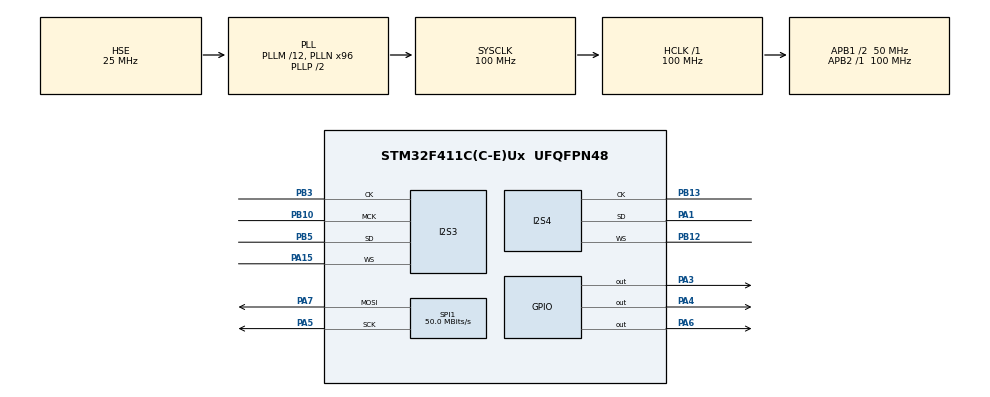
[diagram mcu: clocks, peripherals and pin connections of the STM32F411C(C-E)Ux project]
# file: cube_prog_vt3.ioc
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Dma.Request0=SPI3_RX
Dma.Request1=SPI4_TX
Dma.SPI3_RX.0.Direction=DMA_PERIPH_TO_MEMORY
Dma.SPI3_RX.0.FIFOMode=DMA_FIFOMODE_DISABLE
Dma.SPI3_RX.0.Instance=DMA1_Stream0
Dma.SPI3_RX.0.MemDataAlignment=DMA_MDATAALIGN_HALFWORD
Dma.SPI3_RX.0.MemInc=DMA_MINC_ENABLE
Dma.SPI3_RX.0.Mode=DMA_CIRCULAR
Dma.SPI3_RX.0.PeriphDataAlignment=DMA_PDATAALIGN_HALFWORD
Dma.SPI3_RX.0.PeriphInc=DMA_PINC_DISABLE
Dma.SPI3_RX.0.Priority=DMA_PRIORITY_LOW
Dma.SPI4_TX.1.Direction=DMA_MEMORY_TO_PERIPH
Dma.SPI4_TX.1.FIFOMode=DMA_FIFOMODE_DISABLE
Dma.SPI4_TX.1.Instance=DMA2_Stream1
Dma.SPI4_TX.1.MemDataAlignment=DMA_MDATAALIGN_HALFWORD
Dma.SPI4_TX.1.MemInc=DMA_MINC_ENABLE
Dma.SPI4_TX.1.Mode=DMA_CIRCULAR
Dma.SPI4_TX.1.PeriphDataAlignment=DMA_PDATAALIGN_HALFWORD
Dma.SPI4_TX.1.PeriphInc=DMA_PINC_DISABLE
Dma.SPI4_TX.1.Priority=DMA_PRIORITY_LOW
I2S3.AudioFreq=I2S_AUDIOFREQ_48K
I2S3.CPOL=I2S_CPOL_HIGH
I2S3.DataFormat=I2S_DATAFORMAT_24B
I2S3.ErrorAudioFreq=0.02 %
I2S3.FullDuplexMode=I2S_FULLDUPLEXMODE_DISABLE
I2S3.Instance=SPI$Index
I2S3.Mode=I2S_MODE_MASTER_RX
I2S3.RealAudioFreq=48.014 KHz
I2S3.VirtualMode=I2S_MODE_MASTER
I2S4.AudioFreq=I2S_AUDIOFREQ_48K
I2S4.DataFormat=I2S_DATAFORMAT_24B
I2S4.ErrorAudioFreq=0.02 %
I2S4.FullDuplexMode=I2S_FULLDUPLEXMODE_DISABLE
I2S4.Instance=SPI$Index
I2S4.RealAudioFreq=48.014 KHz
I2S4.VirtualMode=I2S_MODE_MASTER
Mcu.Family=STM32F4
Mcu.Name=STM32F411C(C-E)Ux
Mcu.Package=UFQFPN48
NVIC.DMA1_Stream0_IRQn=true\:0\:0\:false\:false\:true\:false\:true\:true
NVIC.DMA2_Stream1_IRQn=true\:0\:0\:false\:false\:true\:false\:true\:true
NVIC.PriorityGroup=NVIC_PRIORITYGROUP_4
PA1.Mode=Half_Duplex_Master
PA1.Signal=I2S4_SD
PA15.Mode=Half_Duplex_Master
PA15.Signal=I2S3_WS
PA3.GPIO_Speed=GPIO_SPEED_FREQ_VERY_HIGH
PA3.Signal=GPIO_Output
PA4.GPIO_Speed=GPIO_SPEED_FREQ_VERY_HIGH
PA4.Signal=GPIO_Output
PA5.Mode=TX_Only_Simplex_Unidirect_Master
PA5.Signal=SPI1_SCK
PA6.GPIO_Speed=GPIO_SPEED_FREQ_VERY_HIGH
PA6.Signal=GPIO_Output
PA7.Mode=TX_Only_Simplex_Unidirect_Master
PA7.Signal=SPI1_MOSI
PB10.Mode=Master_Clock_Activated
PB10.Signal=I2S3_MCK
PB12.Mode=Half_Duplex_Master
PB12.Signal=I2S4_WS
PB13.Mode=Half_Duplex_Master
PB13.Signal=I2S4_CK
PB3.Mode=Half_Duplex_Master
PB3.Signal=I2S3_CK
PB5.Mode=Half_Duplex_Master
PB5.Signal=I2S3_SD
PH0\ -\ OSC_IN.Mode=HSE-External-Oscillator
PH0\ -\ OSC_IN.Signal=RCC_OSC_IN
PH1\ -\ OSC_OUT.Mode=HSE-External-Oscillator
PH1\ -\ OSC_OUT.Signal=RCC_OSC_OUT
ProjectManager.HeapSize=0x200
ProjectManager.StackSize=0x400
ProjectManager.TargetToolchain=STM32CubeIDE
RCC.48MHZClocksFreq_Value=50000000
RCC.AHBFreq_Value=100000000
RCC.APB1CLKDivider=RCC_HCLK_DIV2
RCC.APB1Freq_Value=50000000
RCC.APB1TimFreq_Value=100000000
RCC.APB2Freq_Value=100000000
RCC.APB2TimFreq_Value=100000000
RCC.CortexFreq_Value=100000000
RCC.HCLKFreq_Value=100000000
RCC.HSE_VALUE=25000000
RCC.HSI_VALUE=16000000
RCC.LSE_VALUE=32768
RCC.PLLI2SN=236
RCC.PLLM=12
RCC.PLLN=96
RCC.PLLSourceVirtual=RCC_PLLSOURCE_HSE
RCC.SYSCLKFreq_VALUE=100000000
RCC.SYSCLKSource=RCC_SYSCLKSOURCE_PLLCLK
RCC.VCOOutputFreq_Value=200000000
SPI1.BaudRatePrescaler=SPI_BAUDRATEPRESCALER_2
SPI1.CLKPolarity=SPI_POLARITY_LOW
SPI1.CalculateBaudRate=50.0 MBits/s
SPI1.DataSize=SPI_DATASIZE_8BIT
SPI1.Direction=SPI_DIRECTION_2LINES
SPI1.Mode=SPI_MODE_MASTER
SPI1.VirtualType=VM_MASTER
board=custom

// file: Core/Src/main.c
/* USER CODE BEGIN Header */
/**
  ******************************************************************************
  * @file           : main.c
  * @brief          : Main program body
  ******************************************************************************
  * @attention
  *
  * Copyright (c) 2023 STMicroelectronics.
  * All rights reserved.
  *
  * This software is licensed under terms that can be found in the LICENSE file
  * in the root directory of this software component.
  * If no LICENSE file comes with this software, it is provided AS-IS.
  *
  ******************************************************************************
  */
/* USER CODE END Header */
#include "main.h"

/* USER CODE BEGIN Includes */
#include "st7735.h"
#define ST7735_IS_128X128
#include "testimg.h"
#undef ST7735_IS_128X128
#include "fonts.h"
#include "gfx_functions.h"
/* USER CODE END Includes */

I2S_HandleTypeDef hi2s3;
I2S_HandleTypeDef hi2s4;
DMA_HandleTypeDef hdma_spi3_rx;
DMA_HandleTypeDef hdma_spi4_tx;

SPI_HandleTypeDef hspi1;

void SystemClock_Config(void);
void PeriphCommonClock_Config(void);
static void MX_GPIO_Init(void);
static void MX_DMA_Init(void);
static void MX_SPI1_Init(void);
static void MX_I2S3_Init(void);
static void MX_I2S4_Init(void);
/* USER CODE BEGIN PFP */
void checkborder(void);
void initscreen(void);
void initpcm(void);
extern void testDrawPixelMeter(void);
/* USER CODE END PFP */

/* USER CODE BEGIN 0 */
uint16_t inp[4*CNT_DISCRET];
uint16_t out[4*CNT_DISCRET];
uint16_t curPos, lPos;
/* USER CODE END 0 */

int main(void)
{

  /* MCU Configuration--------------------------------------------------------*/

  /* Reset of all peripherals, Initializes the Flash interface and the Systick. */
  HAL_Init();

  /* Configure the system clock */
  SystemClock_Config();

/* Configure the peripherals common clocks */
  PeriphCommonClock_Config();

  /* Initialize all configured peripherals */
  MX_GPIO_Init();
  MX_DMA_Init();
  MX_SPI1_Init();
  MX_I2S3_Init();
  MX_I2S4_Init();
  /* USER CODE BEGIN 2 */
  initscreen();
  ST7735_FillScreenFast(ST7735_BLACK);
  HAL_I2S_Receive_DMA(&hi2s3, inp, CNT_DISCRET*2);	// Отправляет в дма (Принять из Устройства)
  HAL_I2S_Transmit_DMA(&hi2s4, out, CNT_DISCRET*2); // Забирает (ОтравитьВДМА)
  testDrawPixelMeter();
  /* USER CODE END 2 */

  /* Infinite loop */
  while (1)
  {

// 	  ST7735_FillScreenFast(ST7735_BLACK);
  }
}

void SystemClock_Config(void)
{
  RCC_OscInitTypeDef RCC_OscInitStruct = {0};
  RCC_ClkInitTypeDef RCC_ClkInitStruct = {0};

  /** Configure the main internal regulator output voltage
  */
  __HAL_RCC_PWR_CLK_ENABLE();
  __HAL_PWR_VOLTAGESCALING_CONFIG(PWR_REGULATOR_VOLTAGE_SCALE1);

  /** Initializes the RCC Oscillators according to the specified parameters
  * in the RCC_OscInitTypeDef structure.
  */
  RCC_OscInitStruct.OscillatorType = RCC_OSCILLATORTYPE_HSE;
  RCC_OscInitStruct.HSEState = RCC_HSE_ON;
  RCC_OscInitStruct.PLL.PLLState = RCC_PLL_ON;
  RCC_OscInitStruct.PLL.PLLSource = RCC_PLLSOURCE_HSE;
  RCC_OscInitStruct.PLL.PLLM = 12;
  RCC_OscInitStruct.PLL.PLLN = 96;
  RCC_OscInitStruct.PLL.PLLP = RCC_PLLP_DIV2;
  RCC_OscInitStruct.PLL.PLLQ = 4;
  if (HAL_RCC_OscConfig(&RCC_OscInitStruct) != HAL_OK)
  {
    Error_Handler();
  }

  /** Initializes the CPU, AHB and APB buses clocks
  */
  RCC_ClkInitStruct.ClockType = RCC_CLOCKTYPE_HCLK|RCC_CLOCKTYPE_SYSCLK
                              |RCC_CLOCKTYPE_PCLK1|RCC_CLOCKTYPE_PCLK2;
  RCC_ClkInitStruct.SYSCLKSource = RCC_SYSCLKSOURCE_PLLCLK;
  RCC_ClkInitStruct.AHBCLKDivider = RCC_SYSCLK_DIV1;
  RCC_ClkInitStruct.APB1CLKDivider = RCC_HCLK_DIV2;
  RCC_ClkInitStruct.APB2CLKDivider = RCC_HCLK_DIV1;

  if (HAL_RCC_ClockConfig(&RCC_ClkInitStruct, FLASH_LATENCY_3) != HAL_OK)
  {
    Error_Handler();
  }
}

void PeriphCommonClock_Config(void)
{
  RCC_PeriphCLKInitTypeDef PeriphClkInitStruct = {0};

  /** Initializes the peripherals clock
  */
  PeriphClkInitStruct.PeriphClockSelection = RCC_PERIPHCLK_I2S;
  PeriphClkInitStruct.PLLI2S.PLLI2SN = 236;
  PeriphClkInitStruct.PLLI2S.PLLI2SM = 16;
  PeriphClkInitStruct.PLLI2S.PLLI2SR = 2;
  if (HAL_RCCEx_PeriphCLKConfig(&PeriphClkInitStruct) != HAL_OK)
  {
    Error_Handler();
  }
}

static void MX_I2S3_Init(void)
{

  hi2s3.Instance = SPI3;
  hi2s3.Init.Mode = I2S_MODE_MASTER_RX;
  hi2s3.Init.Standard = I2S_STANDARD_PHILIPS;
  hi2s3.Init.DataFormat = I2S_DATAFORMAT_24B;
  hi2s3.Init.MCLKOutput = I2S_MCLKOUTPUT_ENABLE;
  hi2s3.Init.AudioFreq = I2S_AUDIOFREQ_48K;
  hi2s3.Init.CPOL = I2S_CPOL_HIGH;
  hi2s3.Init.ClockSource = I2S_CLOCK_PLL;
  hi2s3.Init.FullDuplexMode = I2S_FULLDUPLEXMODE_DISABLE;
  if (HAL_I2S_Init(&hi2s3) != HAL_OK)
  {
    Error_Handler();
  }

}

static void MX_I2S4_Init(void)
{

  hi2s4.Instance = SPI4;
  hi2s4.Init.Mode = I2S_MODE_MASTER_TX;
  hi2s4.Init.Standard = I2S_STANDARD_PHILIPS;
  hi2s4.Init.DataFormat = I2S_DATAFORMAT_24B;
  hi2s4.Init.MCLKOutput = I2S_MCLKOUTPUT_DISABLE;
  hi2s4.Init.AudioFreq = I2S_AUDIOFREQ_48K;
  hi2s4.Init.CPOL = I2S_CPOL_LOW;
  hi2s4.Init.ClockSource = I2S_CLOCK_PLL;
  hi2s4.Init.FullDuplexMode = I2S_FULLDUPLEXMODE_DISABLE;
  if (HAL_I2S_Init(&hi2s4) != HAL_OK)
  {
    Error_Handler();
  }

}

static void MX_SPI1_Init(void)
{

  /* SPI1 parameter configuration*/
  hspi1.Instance = SPI1;
  hspi1.Init.Mode = SPI_MODE_MASTER;
  hspi1.Init.Direction = SPI_DIRECTION_2LINES;
  hspi1.Init.DataSize = SPI_DATASIZE_8BIT;
  hspi1.Init.CLKPolarity = SPI_POLARITY_LOW;
  hspi1.Init.CLKPhase = SPI_PHASE_1EDGE;
  hspi1.Init.NSS = SPI_NSS_SOFT;
  hspi1.Init.BaudRatePrescaler = SPI_BAUDRATEPRESCALER_2;
  hspi1.Init.FirstBit = SPI_FIRSTBIT_MSB;
  hspi1.Init.TIMode = SPI_TIMODE_DISABLE;
  hspi1.Init.CRCCalculation = SPI_CRCCALCULATION_DISABLE;
  hspi1.Init.CRCPolynomial = 10;
  if (HAL_SPI_Init(&hspi1) != HAL_OK)
  {
    Error_Handler();
  }

}

static void MX_DMA_Init(void)
{

  /* DMA controller clock enable */
  __HAL_RCC_DMA1_CLK_ENABLE();
  __HAL_RCC_DMA2_CLK_ENABLE();

  /* DMA interrupt init */
  /* DMA1_Stream0_IRQn interrupt configuration */
  HAL_NVIC_SetPriority(DMA1_Stream0_IRQn, 0, 0);
  HAL_NVIC_EnableIRQ(DMA1_Stream0_IRQn);
  /* DMA2_Stream1_IRQn interrupt configuration */
  HAL_NVIC_SetPriority(DMA2_Stream1_IRQn, 0, 0);
  HAL_NVIC_EnableIRQ(DMA2_Stream1_IRQn);

}

static void MX_GPIO_Init(void)
{
  GPIO_InitTypeDef GPIO_InitStruct = {0};

  /* GPIO Ports Clock Enable */
  __HAL_RCC_GPIOH_CLK_ENABLE();
  __HAL_RCC_GPIOA_CLK_ENABLE();
  __HAL_RCC_GPIOB_CLK_ENABLE();

  /*Configure GPIO pin Output Level */
  HAL_GPIO_WritePin(GPIOA, GPIO_PIN_3|GPIO_PIN_4|GPIO_PIN_6, GPIO_PIN_RESET);

  /*Configure GPIO pins : PA3 PA4 PA6 */
  GPIO_InitStruct.Pin = GPIO_PIN_3|GPIO_PIN_4|GPIO_PIN_6;
  GPIO_InitStruct.Mode = GPIO_MODE_OUTPUT_PP;
  GPIO_InitStruct.Pull = GPIO_NOPULL;
  GPIO_InitStruct.Speed = GPIO_SPEED_FREQ_VERY_HIGH;
  HAL_GPIO_Init(GPIOA, &GPIO_InitStruct);

}

/* USER CODE BEGIN 4 */
void checkborder(void){
	HAL_Delay(1000);
	for (int x = 0; x < ST7735_WIDTH; x++) {
		ST7735_DrawPixel(x, 0, ST7735_RED);
		ST7735_DrawPixel(x, ST7735_HEIGHT - 1, ST7735_RED);
	}

	for (int y = 0; y < ST7735_HEIGHT; y++) {
		ST7735_DrawPixel(0, y, ST7735_RED);
		ST7735_DrawPixel(ST7735_WIDTH - 1, y, ST7735_RED);
	}
	HAL_Delay(1000);
	ST7735_FillScreen(ST7735_BLACK);
}

void initscreen(void){
	  ST7735_Init();
	  ST7735_FillScreen(ST7735_BLACK);
	  checkborder();
	  ST7735_FillScreenFast(ST7735_BLACK);
// hello
/*
  	  testAll();

	  ST7735_SetRotation(0);
	  ST7735_WriteString(0, 0, "HELLO", Font_11x18, ST7735_RED,ST7735_BLACK);
	  HAL_Delay(1000);
	  fillScreen(ST7735_BLACK);

	  ST7735_SetRotation(1);
	  ST7735_WriteString(0, 0, "WORLD", Font_11x18, ST7735_GREEN,ST7735_BLACK);
	  HAL_Delay(1000);
	  fillScreen(ST7735_BLACK);

	  ST7735_SetRotation(2);
	  ST7735_WriteString(0, 0, "FROM", Font_11x18, ST7735_BLUE,ST7735_BLACK);
	  HAL_Delay(1000);
	  fillScreen(ST7735_BLACK);

	  ST7735_SetRotation(3);
	  ST7735_WriteString(0, 0, "STM32", Font_16x26, ST7735_YELLOW,ST7735_BLACK);
	  HAL_Delay(1000);
	  fillScreen(ST7735_BLACK);
*/
// end hello

}

void initpcm(){
	  ST7735_SetRotation(0);
	  fillScreen(ST7735_BLACK);
	  ST7735_WriteString(0, 0, "pcm init...", Font_7x10, ST7735_WHITE,ST7735_BLACK);
	  HAL_Delay(1000);
	  ST7735_WriteString(LABEL_POSITION, 0, "ok", Font_7x10, ST7735_WHITE,ST7735_GREEN);
}
void blow_stream(){
	lPos+=1;
	curPos = lPos*10;
/*
	if(curPos >= ST7735_HEIGHT){
		curPos = 0; lPos = 0;
		fillScreen(ST7735_BLACK);
	}
	ST7735_WriteString(0,curPos*=10, "call", Font_7x10, ST7735_WHITE,ST7735_BLACK);
*/
}
/* USER CODE END 4 */

void Error_Handler(void)
{
  __disable_irq();
  while (1)
  {
  }
}
